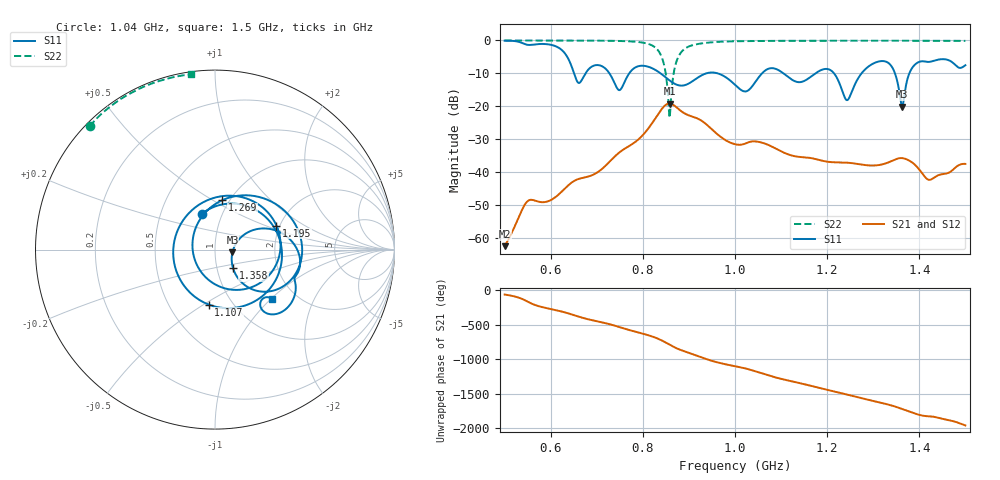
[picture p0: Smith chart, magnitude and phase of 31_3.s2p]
! TOUCHSTONE file generated by CST MICROWAVE STUDIO
! Date and time: Fri Dec 11 14:16:11 2020
! Project name: Scenario_1_Planar_Body_Tissue_Out_of_Line_v2.cst
! Parameters = {dy1=173; L_HA=400; Ltissue=700; MT=2.54; Rad_Dielectric=30; Rad_Lower=7.3; Rad_Upper=30; Wtissue=700; a_HA=580; a_WG=246; b_HA=500; b_WG=121; c_HA=0; c_WG=187; d_feed=85; dx1=520; h_feed=15; h_lower=18; h_upper=40; hfat=3; hgap=25; hmuscle=50; hskin=1.5}
! Header version: 2018
! Port assignment regex: !\s*Touchstone port\s*([0-9]+)\s*=\s*(CST MWS port|CST DS port)\s*([0-9]+|Zmin|Zmax)\s*\(\"(.*)\"\)(\s*mode\s*([0-9]+))?.*
! Touchstone port assignment:
! Touchstone port 1 = CST MWS port 1 ("")
! Touchstone port 2 = CST MWS port 2 ("")
# GHz S DB R 50
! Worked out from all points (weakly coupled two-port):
!   1003 points, 500 MHz to 1.5 GHz, reference 50 ohm
!   highest |S21| = -19.20 dB at 858 MHz (marker M1); lowest = -62.6 dB at 500 MHz (marker M2)
!   lowest |S11| = -20.2 dB at 1.363 GHz (marker M3), VSWR 1.22, Z = 60.7 - j1.93 ohm
!   |S11| at or under -10 dB: 838.2 MHz to 938.3 MHz (100.1 MHz wide, 11.3 % of centre); 961.8 MHz to 1.059 GHz (96.97 MHz wide, 9.6 % of centre); 1.105 GHz to 1.175 GHz (70 MHz wide, 6.14 % of centre) (the widest 3 of 7)
!   |S22| runs from -23.5 to 0.0 dB; largest |S21 - S12| = 2.4e-06
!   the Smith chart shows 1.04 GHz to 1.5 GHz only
!   S11 on the Smith chart (normalised r, x): 1.04 GHz: 0.80, +0.33; 1.107 GHz: 0.78, -0.53; 1.195 GHz: 1.92, +0.60; 1.269 GHz: 0.92, +0.55; 1.358 GHz: 1.19, -0.25; 1.5 GHz: 1.53, -1.01
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0.5  -0.08 -121.9  -62.62 -59.9  -62.62 -59.9  -0.01 151.2
0.599  -1.29 -175.8  -48.68 91.7  -48.68 91.7  -0.02 144.2
0.667  -12.15 168.7  -41.92 -33.1  -41.92 -33.1  -0.04 138.4
0.743  -14.26 12.9  -34.81 -158.7  -34.81 -158.7  -0.14 128.8
0.788  -7.94 164.6  -30.41 114.2  -30.41 114.2  -0.45 117.7
0.834  -9.58 52.2  -22.26 16.7  -22.26 16.7  -3.21 84.1
0.858  -12.18 -11.6  -19.20 -67.1  -19.20 -67.1  -23.52 -46.4
0.895  -13.42 -134.8  -22.53 -173.5  -22.53 -173.5  -2.17 171.6
0.936  -10.10 82.9  -25.33 88.8  -25.33 88.8  -0.75 152.7
1  -13.49 -95.7  -31.59 -19.2  -31.59 -19.2  -0.25 140.3
1.04  -13.46 110.1  -30.72 -84.7  -30.72 -84.7  -0.19 135.5
1.074  -8.55 -3.1  -31.91 -155.0  -31.91 -155.0  -0.14 132.1
1.107  -10.23 -96.6  -34.21 146.9  -34.21 146.9  -0.12 129.1
1.167  -10.80 91.0  -35.86 52.5  -35.86 52.5  -0.10 124.2
1.195  -8.69 21.4  -36.79 6.8  -36.79 6.8  -0.09 122.1
1.225  -12.49 -69.3  -37.12 -40.2  -37.12 -40.2  -0.09 119.7
1.269  -11.13 81.8  -37.66 -113.1  -37.66 -113.1  -0.08 116.5
1.334  -6.97 -24.0  -37.07 142.9  -37.07 142.9  -0.09 111.5
1.358  -16.82 -45.8  -35.83 92.1  -35.82 92.1  -0.09 109.7
1.363  -20.16 -9.2  -35.82 79.7  -35.82 79.7  -0.09 109.3
1.397  -6.70 -1.2  -38.80 1.8  -38.80 1.9  -0.10 106.6
1.5  -7.55 -40.7  -37.59 -157.2  -37.59 -157.2  -0.13 98.0
